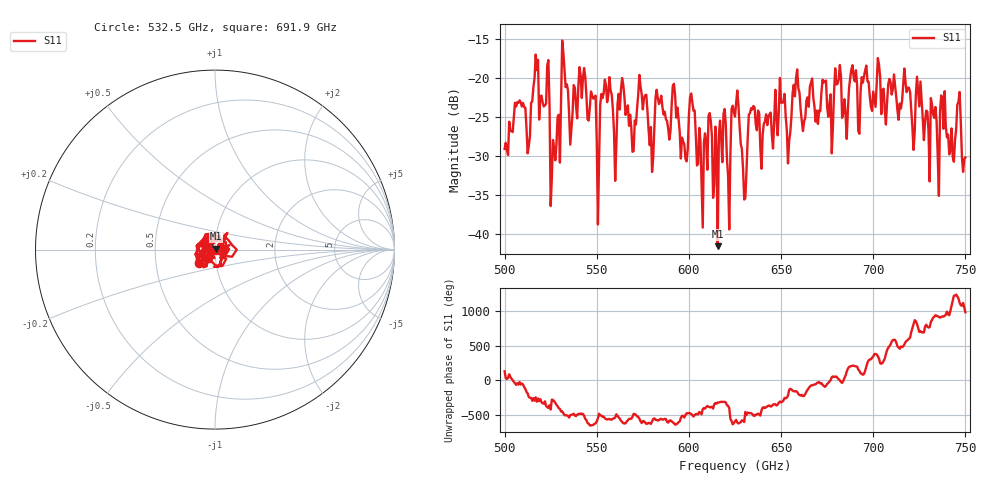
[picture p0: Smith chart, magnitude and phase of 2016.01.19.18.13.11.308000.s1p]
!Created with skrf (http://scikit-rf.org).
# GHz S RI R 50.0
!freq ReS11 ImS11
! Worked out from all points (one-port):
!   401 points, 500 GHz to 750 GHz, reference 50 ohm
!   lowest |S11| = -41.5 dB at 615.6 GHz (marker M1), VSWR 1.02, Z = 50.6 + j0.577 ohm
!   |S11| at or under -10 dB: start of sweep to end of sweep
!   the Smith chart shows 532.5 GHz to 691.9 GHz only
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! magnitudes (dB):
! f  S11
! 500 GHz  -29.1
! 506.9 GHz  -23.1
! 513.1 GHz  -28.7
! 516.9 GHz  -17.0
! 523.1 GHz  -18.4
! 526.2 GHz  -27.9
! 531.2 GHz  -15.2
! 548.1 GHz  -22.6
! 550.6 GHz  -38.7
! 553.8 GHz  -21.9
! 560 GHz  -33.1
! 562.5 GHz  -24.0
! 570 GHz  -29.3
! 574.4 GHz  -22.1
! 579.4 GHz  -26.3
! 583.1 GHz  -22.6
! 593.8 GHz  -23.8
! 615.6 GHz  -41.5
! 621.9 GHz  -39.4
! 625 GHz  -24.9
! 630 GHz  -35.6
! 633.8 GHz  -23.9
! 656.2 GHz  -21.9
! 687.5 GHz  -20.0
! 718.8 GHz  -21.2
! 742.5 GHz  -26.4
! 746.2 GHz  -23.0
! 750 GHz  -30.2
